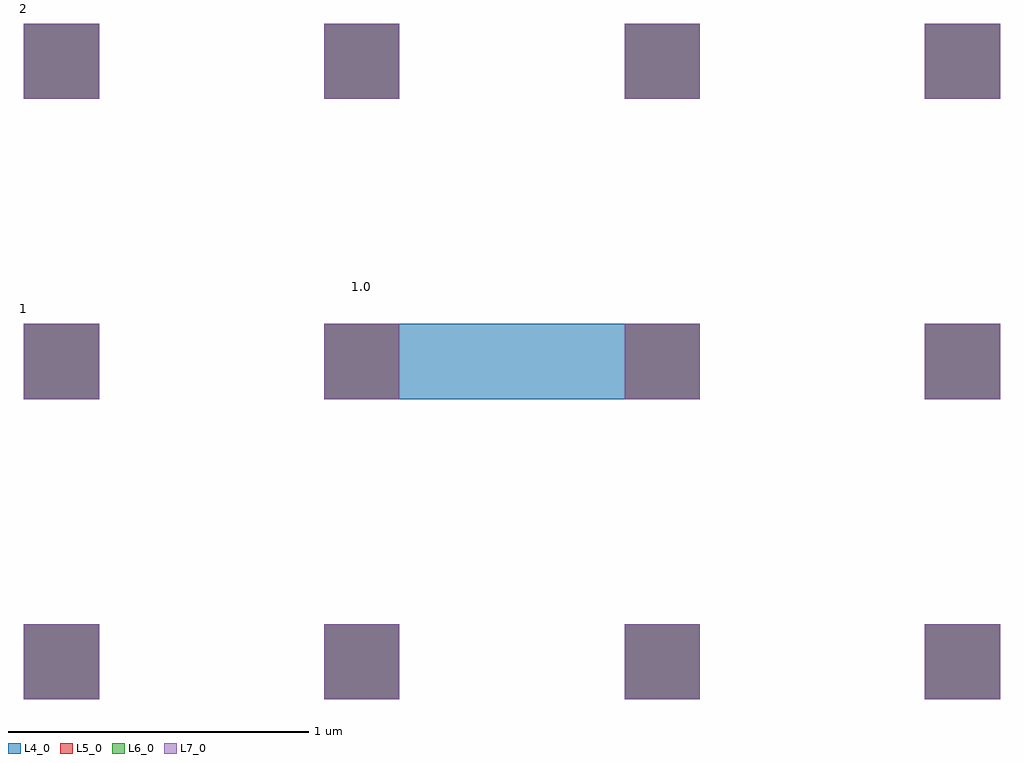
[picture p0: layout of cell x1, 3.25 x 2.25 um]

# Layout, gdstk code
import gdstk
lib = gdstk.Library(unit=1e-6, precision=1e-09)
def R(c, l, rs):  # rectangles x0, y0, x1, y1
    for r in rs: c.add(gdstk.rectangle(r[:2], r[2:], *l))
def A(c, l, x, y, w, h, nx, ny, dx, dy):  # array of equal rectangles
    R(c, l, [(x+i*dx, y+j*dy, x+i*dx+w, y+j*dy+h) for i in range(nx) for j in range(ny)])
L4_0 = (4, 0)
L5_0 = (5, 0)
L6_0 = (6, 0)
L7_0 = (7, 0)

c_x1 = lib.new_cell('x1')
A(c_x1, L4_0, 0, 0, 0.25, 0.25, 4, 3, 1, 1)
R(c_x1, L4_0, [(1,1,2.25,1.25)])
A(c_x1, L5_0, 0, 0, 0.25, 0.25, 4, 3, 1, 1)
A(c_x1, L6_0, 0, 0, 0.25, 0.25, 4, 3, 1, 1)
A(c_x1, L7_0, 0, 0, 0.25, 0.25, 4, 3, 1, 1)
c_x1.add(gdstk.Label('0', (0,-0.125), layer=0, texttype=0))
c_x1.add(gdstk.Label('1', (1,-0.125), layer=0, texttype=0))
c_x1.add(gdstk.Label('2', (2,-0.125), layer=0, texttype=0))
c_x1.add(gdstk.Label('3', (3,-0.125), layer=0, texttype=0))
c_x1.add(gdstk.Label('1', (0,1.3), layer=0, texttype=0))
c_x1.add(gdstk.Label('2', (0,2.3), layer=0, texttype=0))
c_x1.add(gdstk.Label('1.0', (1.125,1.375), layer=0, texttype=0))

lib.write_gds('x1.gds')
